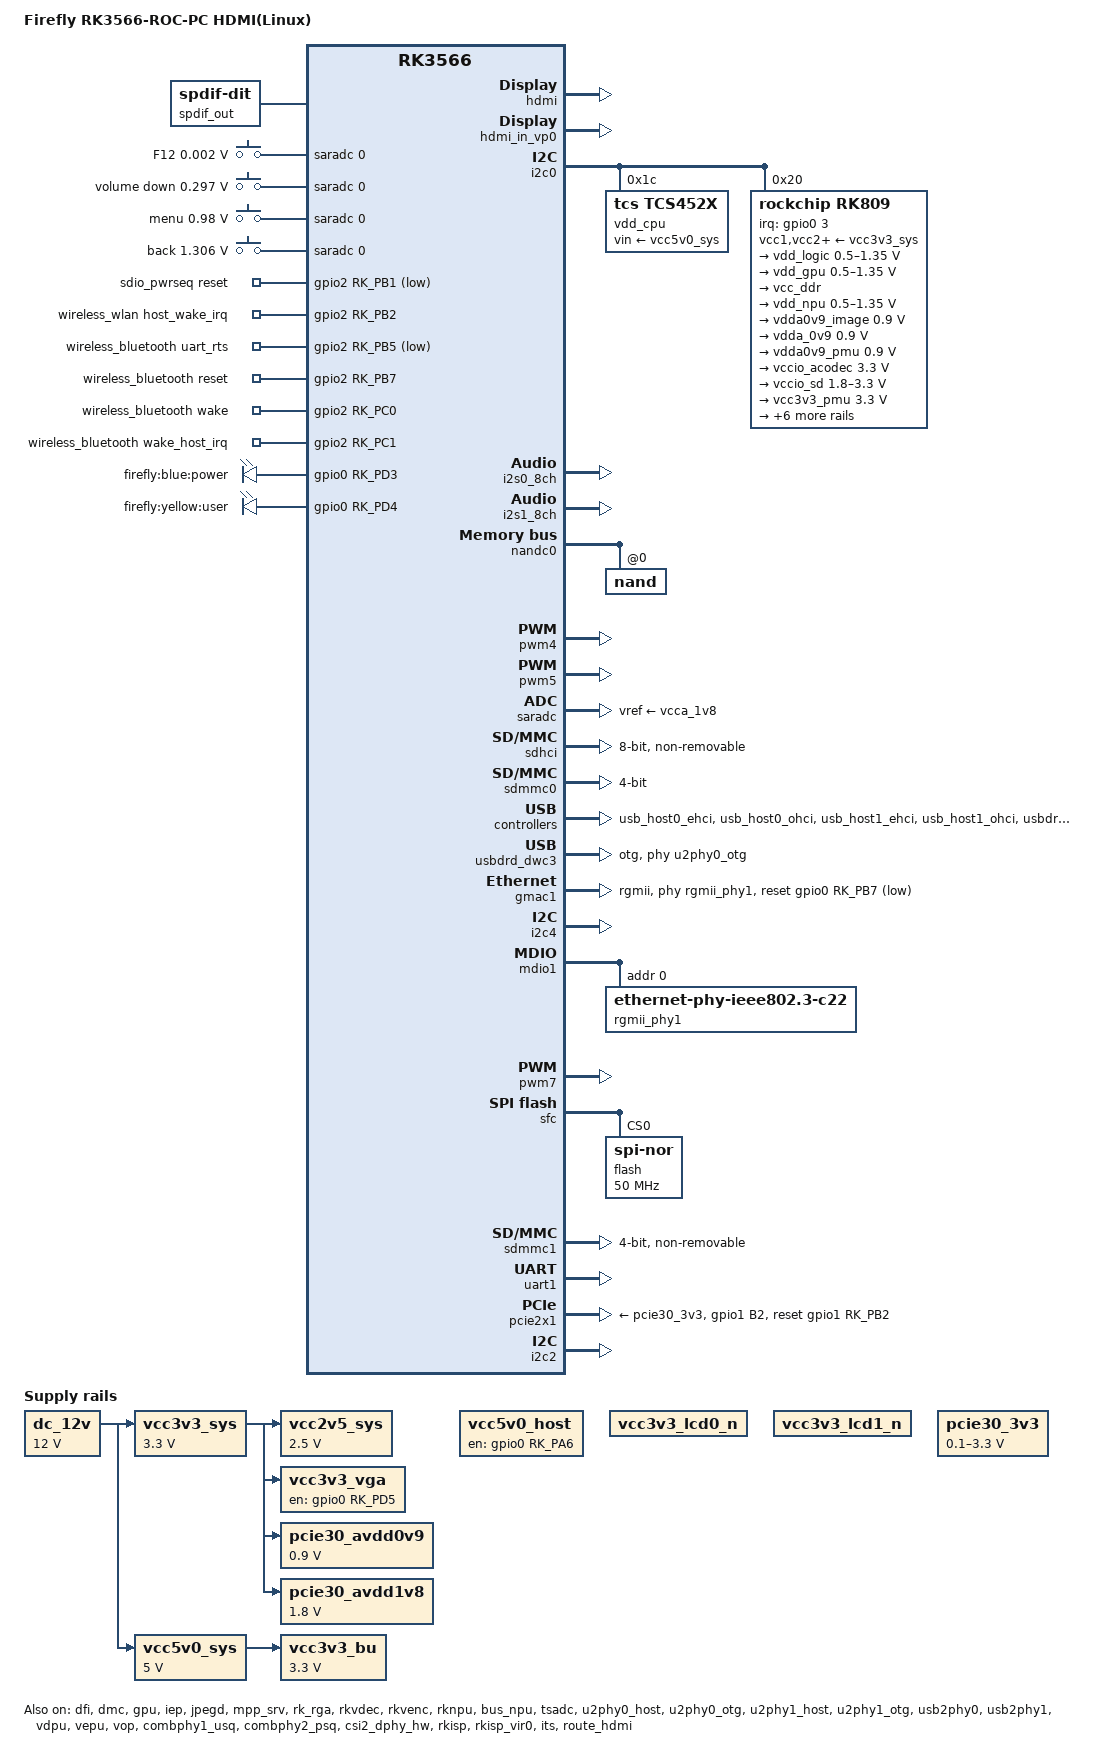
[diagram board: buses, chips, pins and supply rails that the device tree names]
// SPDX-License-Identifier: (GPL-2.0+ OR MIT)
/*
 * Copyright (c) 2020 Rockchip Electronics Co., Ltd.
 *
 */

 /dts-v1/;

#include <dt-bindings/gpio/gpio.h>
#include <dt-bindings/pinctrl/rockchip.h>
#include <dt-bindings/display/rockchip_vop.h>
#include <dt-bindings/gpio/gpio.h>
#include <dt-bindings/pwm/pwm.h>
#include <dt-bindings/pinctrl/rockchip.h>
#include <dt-bindings/input/rk-input.h>
#include <dt-bindings/display/drm_mipi_dsi.h>
#include <dt-bindings/sensor-dev.h>
#include "rk3566.dtsi"
#include "rk3568-linux.dtsi"

/ {
	model = "Firefly RK3566-ROC-PC HDMI(Linux)";
    compatible = "rockchip,rk3566-firefly-roc-pc", "rockchip,rk3566";

	audiopwmout_diff: audiopwmout-diff {
		status = "disabled";
		compatible = "simple-audio-card";
		simple-audio-card,format = "i2s";
		simple-audio-card,name = "rockchip,audiopwmout-diff";
		simple-audio-card,mclk-fs = <256>;
		simple-audio-card,bitclock-master = <&master>;
		simple-audio-card,frame-master = <&master>;
		simple-audio-card,cpu {
			sound-dai = <&i2s3_2ch>;
		};
		master: simple-audio-card,codec {
			sound-dai = <&dig_acodec>;
		};
	};

	dc_12v: dc-12v {
		compatible = "regulator-fixed";
		regulator-name = "dc_12v";
		regulator-always-on;
		regulator-boot-on;
		regulator-min-microvolt = <12000000>;
		regulator-max-microvolt = <12000000>;
	};

	hdmi_sound: hdmi-sound {
		compatible = "simple-audio-card";
		simple-audio-card,format = "i2s";
		simple-audio-card,mclk-fs = <128>;
		simple-audio-card,name = "rockchip,hdmi";
		status = "disabled";

		simple-audio-card,cpu {
				sound-dai = <&i2s0_8ch>;
		};
		simple-audio-card,codec {
				sound-dai = <&hdmi>;
		};
	};

	rk_headset: rk-headset {
		status = "disabled";
		compatible = "rockchip_headset";
		headset_gpio = <&gpio3 RK_PC2 GPIO_ACTIVE_LOW>;
		pinctrl-names = "default";
		pinctrl-0 = <&hp_det>;
	};

	pdmics: dummy-codec {
		status = "disabled";
		compatible = "rockchip,dummy-codec";
		#sound-dai-cells = <0>;
	};

	pdm_mic_array: pdm-mic-array {
		status = "disabled";
		compatible = "simple-audio-card";
		simple-audio-card,name = "rockchip,pdm-mic-array";
		simple-audio-card,cpu {
			sound-dai = <&pdm>;
		};
		simple-audio-card,codec {
			sound-dai = <&pdmics>;
		};
	};

	rk809_sound: rk809-sound {
		status = "okay";
		compatible = "rockchip,multicodecs-card";
		rockchip,card-name = "rockchip-rk809";
		//hp-det-gpio = <&gpio3 RK_PA1 GPIO_ACTIVE_LOW>;
		rockchip,format = "i2s";
		rockchip,mclk-fs = <256>;
		rockchip,cpu = <&i2s1_8ch>;
		rockchip,codec = <&rk809_codec>;
		// pinctrl-names = "default";
		// pinctrl-0 = <&hp_det>;
	};

	spdif-sound {
		status = "okay";
		compatible = "simple-audio-card";
		simple-audio-card,name = "ROCKCHIP,SPDIF";
		simple-audio-card,cpu {
				sound-dai = <&spdif_8ch>;
		};
		simple-audio-card,codec {
				sound-dai = <&spdif_out>;
		};
	};

	spdif_out: spdif-out {
			status = "okay";
			compatible = "linux,spdif-dit";
			#sound-dai-cells = <0>;
	};

	vad_sound: vad-sound {
		status = "disabled";
		compatible = "rockchip,multicodecs-card";
		rockchip,card-name = "rockchip,rk3568-vad";
		rockchip,cpu = <&i2s1_8ch>;
		rockchip,codec = <&rk809_codec>, <&vad>;
	};

	vcc3v3_sys: vcc3v3-sys {
		compatible = "regulator-fixed";
		regulator-name = "vcc3v3_sys";
		regulator-always-on;
		regulator-boot-on;
		regulator-min-microvolt = <3300000>;
		regulator-max-microvolt = <3300000>;
		vin-supply = <&dc_12v>;
	};

	vcc5v0_sys: vcc5v0-sys {
		compatible = "regulator-fixed";
		regulator-name = "vcc5v0_sys";
		regulator-always-on;
		regulator-boot-on;
		regulator-min-microvolt = <5000000>;
		regulator-max-microvolt = <5000000>;
		vin-supply = <&dc_12v>;
	};

	vcc5v0_host: vcc5v0-host-regulator {
		compatible = "regulator-fixed";
		enable-active-high;
		gpio = <&gpio0 RK_PA6 GPIO_ACTIVE_HIGH>;
		pinctrl-names = "default";
		pinctrl-0 = <&vcc5v0_host_vbus_en>;
		regulator-name = "vcc5v0_host";
		regulator-always-on;
		regulator-boot-on;
	};

	vcc5v0_otg: vcc5v0-otg-regulator {
		compatible = "regulator-fixed";
		enable-active-high;
		gpio = <&gpio0 RK_PA5 GPIO_ACTIVE_HIGH>;
		pinctrl-names = "default";
		pinctrl-0 = <&vcc5v0_otg_en>;
		regulator-name = "vcc5v0_otg";
	};

	vcc3v3_lcd0_n: vcc3v3-lcd0-n {
		compatible = "regulator-fixed";
		regulator-name = "vcc3v3_lcd0_n";
		regulator-boot-on;
		regulator-state-mem {
			regulator-off-in-suspend;
		};
	};

	vcc3v3_lcd1_n: vcc3v3-lcd1-n {
		compatible = "regulator-fixed";
		regulator-name = "vcc3v3_lcd1_n";
		regulator-boot-on;
		regulator-state-mem {
			regulator-off-in-suspend;
		};
	};

	adc_keys: adc-keys {
		compatible = "adc-keys";
		io-channels = <&saradc 0>;
		io-channel-names = "buttons";
		keyup-threshold-microvolt = <1800000>;
		poll-interval = <100>;

		recovery-key {
			label = "F12";
			linux,code = <KEY_F12>;
			press-threshold-microvolt = <1750>;
		};

		vol-down-key {
			label = "volume down";
			linux,code = <KEY_VOLUMEDOWN>;
			press-threshold-microvolt = <297500>;
		};

		menu-key {
			label = "menu";
			linux,code = <KEY_MENU>;
			press-threshold-microvolt = <980000>;
		};

		back-key {
			label = "back";
			linux,code = <KEY_BACK>;
			press-threshold-microvolt = <1305500>;
		};
	};

	vcc2v5_sys: vcc2v5-ddr {
		compatible = "regulator-fixed";
		regulator-name = "vcc2v5-sys";
		regulator-always-on;
		regulator-boot-on;
		regulator-min-microvolt = <2500000>;
		regulator-max-microvolt = <2500000>;
		vin-supply = <&vcc3v3_sys>;
	};

	vcc3v3_vga: vcc3v3-vga {
		compatible = "regulator-fixed";
		regulator-name = "vcc3v3_vga";
		regulator-always-on;
		regulator-boot-on;
		gpio = <&gpio0 RK_PD5 GPIO_ACTIVE_HIGH>;
		enable-active-high;
		vin-supply = <&vcc3v3_sys>;
	};

	pcie30_avdd0v9: pcie30-avdd0v9 {
		compatible = "regulator-fixed";
		regulator-name = "pcie30_avdd0v9";
		regulator-always-on;
		regulator-boot-on;
		regulator-min-microvolt = <900000>;
		regulator-max-microvolt = <900000>;
		vin-supply = <&vcc3v3_sys>;
	};

	pcie30_avdd1v8: pcie30-avdd1v8 {
		compatible = "regulator-fixed";
		regulator-name = "pcie30_avdd1v8";
		regulator-always-on;
		regulator-boot-on;
		regulator-min-microvolt = <1800000>;
		regulator-max-microvolt = <1800000>;
		vin-supply = <&vcc3v3_sys>;
	};

	pcie30_3v3: gpio-regulator {
		compatible = "regulator-gpio";
		regulator-name = "pcie30_3v3";
		regulator-min-microvolt = <100000>;
		regulator-max-microvolt = <3300000>;
		gpios = <&gpio0 RK_PD4 GPIO_ACTIVE_HIGH>;
		gpios-states = <0x1>;
		states = <100000 0x0
			  3300000 0x1>;
	};

	vcc3v3_bu: vcc3v3-bu {
		compatible = "regulator-fixed";
		regulator-name = "vcc3v3_bu";
		regulator-always-on;
		regulator-boot-on;
		regulator-min-microvolt = <3300000>;
		regulator-max-microvolt = <3300000>;
		vin-supply = <&vcc5v0_sys>;
	};

	sdio_pwrseq: sdio-pwrseq {
		compatible = "mmc-pwrseq-simple";
		clocks = <&rk809 1>;
		clock-names = "ext_clock";
		pinctrl-names = "default";
		pinctrl-0 = <&wifi_enable_h>;
		/*
			* On the module itself this is one of these (depending
			* on the actual card populated):
			* - SDIO_RESET_L_WL_REG_ON
			* - PDN (power down when low)
		*/
		post-power-on-delay-ms = <200>;
		reset-gpios = <&gpio2 RK_PB1 GPIO_ACTIVE_LOW>;
		status = "okay";
	};

	wireless_wlan: wireless-wlan {
		compatible = "wlan-platdata";
		rockchip,grf = <&grf>;
		wifi_chip_type = "ap6356s";
		pinctrl-names = "default";
		pinctrl-0 = <&wifi_host_wake_irq>;
		WIFI,host_wake_irq = <&gpio2 RK_PB2 0>;
		status = "okay";
	};

	wireless_bluetooth: wireless-bluetooth {
		compatible = "bluetooth-platdata";
		clocks = <&rk809 1>;
		clock-names = "ext_clock";
		//wifi-bt-power-toggle;
		
		uart_rts_gpios = <&gpio2 RK_PB5 GPIO_ACTIVE_LOW>;
		
		pinctrl-names = "default", "rts_gpio";
		pinctrl-0 = <&uart1m0_rtsn
        &bt_host_wake_gpio
        &bt_poweren
        &bt_host_wake_irq>;
		pinctrl-1 = <&uart1_rts_gpio>;
		BT,reset_gpio    = <&gpio2 RK_PB7 GPIO_ACTIVE_HIGH>;
		BT,wake_gpio     = <&gpio2 RK_PC0 GPIO_ACTIVE_HIGH>;
		BT,wake_host_irq = <&gpio2 RK_PC1 GPIO_ACTIVE_HIGH>;
		status = "okay";
	};

	flash_led: flash-led {
		compatible = "led,rgb13h";
		label = "pwm-flash-led";
		led-max-microamp = <20000>;
		flash-max-microamp = <20000>;
		flash-max-timeout-us = <1000000>;
		pwms = <&pwm11 0 25000 0>;
		rockchip,camera-module-index = <1>;
		rockchip,camera-module-facing = "front";
		status = "disabled";
	};

	vcc_camera: vcc-camera-regulator {
		compatible = "regulator-fixed";
		//gpio = <&pca9555 0 GPIO_ACTIVE_HIGH>;
		gpio = <&pca9555 3 GPIO_ACTIVE_HIGH>;
		pinctrl-names = "default";
		pinctrl-0 = <&vcc_cam>;
		regulator-name = "vcc_camera";
		enable-active-high;
		status = "disabled";
	};

	sd_vcc3v3_power: sd-vcc3v3-power {
		status = "disabled";
        compatible = "regulator-fixed";
        enable-active-high;
        gpio = <&gpio0 RK_PA5 GPIO_ACTIVE_HIGH>;
        pinctrl-names = "default";
        pinctrl-0 = <&sd_vcc3v3_power_en>;
        regulator-name = "sd_vcc3v3_power_en";
        regulator-min-microvolt = <3300000>;
        regulator-max-microvolt = <3300000>;
        regulator-always-on;
        regulator-boot-on;
        regulator-state-mem {
            regulator-off-in-suspend;
        };
    };

    firefly_leds: leds {
       compatible = "gpio-leds";
       power_led: power {
           label = "firefly:blue:power";
           linux,default-trigger = "ir-power-click";
           default-state = "on";
           gpios = <&gpio0 RK_PD3 GPIO_ACTIVE_HIGH>;
           pinctrl-names = "default";
           pinctrl-0 = <&led_power>;
       };

       user_led: user {
           label = "firefly:yellow:user";
           linux,default-trigger = "ir-user-click";
           default-state = "off";
           gpios = <&gpio0 RK_PD4 GPIO_ACTIVE_HIGH>;
           pinctrl-names = "default";
           pinctrl-0 = <&led_user>;
       };
    };

	test-power {
		status = "okay";
	};
};

&cpu0 {
	cpu-supply = <&vdd_cpu>;
};

&dfi {
	status = "okay";
};

&dmc {
	center-supply = <&vdd_logic>;
	status = "okay";
};

&gpu {
	mali-supply = <&vdd_gpu>;
	status = "okay";
};

&hdmi {
	status = "okay";
};

&hdmi_in_vp0 {
	status = "okay";
};

&hdmi_in_vp1 {
	status = "disabled";
};

&hdmi_sound {
	status = "okay";
};

&i2c0 {
	status = "okay";

	vdd_cpu: tcs4525@1c {
		compatible = "tcs,tcs452x";
		reg = <0x1c>;
		vin-supply = <&vcc5v0_sys>;
		regulator-compatible = "fan53555-reg";
		regulator-name = "vdd_cpu";
		regulator-min-microvolt = <712500>;
		regulator-max-microvolt = <1390000>;
		regulator-ramp-delay = <2300>;
		fcs,suspend-voltage-selector = <1>;
		regulator-boot-on;
		regulator-always-on;
		regulator-state-mem {
			regulator-off-in-suspend;
		};
	};

	rk809: pmic@20 {
		compatible = "rockchip,rk809";
		reg = <0x20>;
		interrupt-parent = <&gpio0>;
		interrupts = <3 IRQ_TYPE_LEVEL_LOW>;

		pinctrl-names = "default", "pmic-sleep",
				"pmic-power-off", "pmic-reset";
		pinctrl-0 = <&pmic_int>;
		pinctrl-1 = <&soc_slppin_slp>, <&rk817_slppin_slp>;
		pinctrl-2 = <&soc_slppin_gpio>, <&rk817_slppin_pwrdn>;
		pinctrl-3 = <&soc_slppin_gpio>, <&rk817_slppin_rst>;

		rockchip,system-power-controller;
		wakeup-source;
		#clock-cells = <1>;
		clock-output-names = "rk808-clkout1", "rk808-clkout2";
		//fb-inner-reg-idxs = <2>;
		/* 1: rst regs (default in codes), 0: rst the pmic */
		pmic-reset-func = <0>;
		/* not save the PMIC_POWER_EN register in uboot */
		not-save-power-en = <1>;

		vcc1-supply = <&vcc3v3_sys>;
		vcc2-supply = <&vcc3v3_sys>;
		vcc3-supply = <&vcc3v3_sys>;
		vcc4-supply = <&vcc3v3_sys>;
		vcc5-supply = <&vcc3v3_sys>;
		vcc6-supply = <&vcc3v3_sys>;
		vcc7-supply = <&vcc3v3_sys>;
		vcc8-supply = <&vcc3v3_sys>;
		vcc9-supply = <&vcc3v3_sys>;

		pwrkey {
			status = "okay";
		};

		pinctrl_rk8xx: pinctrl_rk8xx {
			gpio-controller;
			#gpio-cells = <2>;

			rk817_slppin_null: rk817_slppin_null {
				pins = "gpio_slp";
				function = "pin_fun0";
			};

			rk817_slppin_slp: rk817_slppin_slp {
				pins = "gpio_slp";
				function = "pin_fun1";
			};

			rk817_slppin_pwrdn: rk817_slppin_pwrdn {
				pins = "gpio_slp";
				function = "pin_fun2";
			};

			rk817_slppin_rst: rk817_slppin_rst {
				pins = "gpio_slp";
				function = "pin_fun3";
			};
		};

		regulators {
			vdd_logic: DCDC_REG1 {
				regulator-always-on;
				regulator-boot-on;
				regulator-min-microvolt = <500000>;
				regulator-max-microvolt = <1350000>;
				regulator-init-microvolt = <900000>;
				regulator-ramp-delay = <6001>;
				regulator-initial-mode = <0x2>;
				regulator-name = "vdd_logic";
				regulator-state-mem {
					regulator-off-in-suspend;
				};
			};

			vdd_gpu: DCDC_REG2 {
				regulator-always-on;
				regulator-boot-on;
				regulator-min-microvolt = <500000>;
				regulator-max-microvolt = <1350000>;
				regulator-init-microvolt = <900000>;
				regulator-ramp-delay = <6001>;
				regulator-initial-mode = <0x2>;
				regulator-name = "vdd_gpu";
				regulator-state-mem {
					regulator-off-in-suspend;
				};
			};

			vcc_ddr: DCDC_REG3 {
				regulator-always-on;
				regulator-boot-on;
				regulator-initial-mode = <0x2>;
				regulator-name = "vcc_ddr";
				regulator-state-mem {
					regulator-on-in-suspend;
				};
			};

			vdd_npu: DCDC_REG4 {
				regulator-always-on;
				regulator-boot-on;
				regulator-min-microvolt = <500000>;
				regulator-max-microvolt = <1350000>;
				regulator-init-microvolt = <900000>;
				regulator-ramp-delay = <6001>;
				regulator-initial-mode = <0x2>;
				regulator-name = "vdd_npu";
				regulator-state-mem {
					regulator-off-in-suspend;
				};
			};

			vdda0v9_image: LDO_REG1 {
				regulator-boot-on;
				regulator-always-on;
				regulator-min-microvolt = <900000>;
				regulator-max-microvolt = <900000>;
				regulator-name = "vdda0v9_image";
				regulator-state-mem {
					regulator-off-in-suspend;
				};
			};

			vdda_0v9: LDO_REG2 {
				regulator-always-on;
				regulator-boot-on;
				regulator-min-microvolt = <900000>;
				regulator-max-microvolt = <900000>;
				regulator-name = "vdda_0v9";
				regulator-state-mem {
					regulator-off-in-suspend;
				};
			};

			vdda0v9_pmu: LDO_REG3 {
				regulator-always-on;
				regulator-boot-on;
				regulator-min-microvolt = <900000>;
				regulator-max-microvolt = <900000>;
				regulator-name = "vdda0v9_pmu";
				regulator-state-mem {
					regulator-on-in-suspend;
					regulator-suspend-microvolt = <900000>;
				};
			};

			vccio_acodec: LDO_REG4 {
				regulator-always-on;
				regulator-boot-on;
				regulator-min-microvolt = <3300000>;
				regulator-max-microvolt = <3300000>;
				regulator-name = "vccio_acodec";
				regulator-state-mem {
					regulator-off-in-suspend;
				};
			};

			vccio_sd: LDO_REG5 {
				regulator-always-on;
				regulator-boot-on;
				regulator-min-microvolt = <1800000>;
				regulator-max-microvolt = <3300000>;
				regulator-name = "vccio_sd";
				regulator-state-mem {
					regulator-off-in-suspend;
				};
			};

			vcc3v3_pmu: LDO_REG6 {
				regulator-always-on;
				regulator-boot-on;
				regulator-min-microvolt = <3300000>;
				regulator-max-microvolt = <3300000>;
				regulator-name = "vcc3v3_pmu";
				regulator-state-mem {
					regulator-on-in-suspend;
					regulator-suspend-microvolt = <3300000>;
				};
			};

			vcca_1v8: LDO_REG7 {
				regulator-always-on;
				regulator-boot-on;
				regulator-min-microvolt = <1800000>;
				regulator-max-microvolt = <1800000>;
				regulator-name = "vcca_1v8";
				regulator-state-mem {
					regulator-off-in-suspend;
				};
			};

			vcca1v8_pmu: LDO_REG8 {
				regulator-always-on;
				regulator-boot-on;
				regulator-min-microvolt = <1800000>;
				regulator-max-microvolt = <1800000>;
				regulator-name = "vcca1v8_pmu";
				regulator-state-mem {
					regulator-on-in-suspend;
					regulator-suspend-microvolt = <1800000>;
				};
			};

			vcca1v8_image: LDO_REG9 {
				regulator-always-on;
				regulator-boot-on;
				regulator-min-microvolt = <1800000>;
				regulator-max-microvolt = <1800000>;
				regulator-name = "vcca1v8_image";
				regulator-state-mem {
					regulator-off-in-suspend;
				};
			};

			vcc_1v8: DCDC_REG5 {
				regulator-always-on;
				regulator-boot-on;
				regulator-min-microvolt = <1800000>;
				regulator-max-microvolt = <1800000>;
				regulator-name = "vcc_1v8";
				regulator-state-mem {
					regulator-off-in-suspend;
				};
			};

			vcc_3v3: SWITCH_REG1 {
				regulator-always-on;
				regulator-boot-on;
				regulator-name = "vcc_3v3";
				regulator-state-mem {
					regulator-off-in-suspend;
				};
			};

			vcc3v3_sd: SWITCH_REG2 {
				regulator-always-on;
				regulator-boot-on;
				regulator-name = "vcc3v3_sd";
				regulator-state-mem {
					regulator-off-in-suspend;
				};
			};
		};

		rk809_codec: codec {
			#sound-dai-cells = <0>;
			compatible = "rockchip,rk809-codec", "rockchip,rk817-codec";
			clocks = <&cru I2S1_MCLKOUT>;
			clock-names = "mclk";
			assigned-clocks = <&cru I2S1_MCLKOUT>, <&cru I2S1_MCLK_TX_IOE>;
			assigned-clock-rates = <12288000>;
			assigned-clock-parents = <&cru I2S1_MCLKOUT_TX>, <&cru I2S1_MCLKOUT_TX>;
			pinctrl-names = "default","spk_gpio";
			pinctrl-0 = <&i2s1m0_mclk>;
			pinctrl-1 = <&spk_ctl_gpio>;
			hp-volume = <20>;
			spk-volume = <3>;
			mic-in-differential;

			capture-volume = <0>;
			io-channels = <&saradc 4>;
			hp-det-adc-value = <1000>;
			spk-ctl-gpios = <&gpio3 RK_PC5 GPIO_ACTIVE_HIGH>;
			status = "okay";
		};
	};
};

&i2s0_8ch {
	status = "okay";
};

&i2s1_8ch {
	status = "okay";
	rockchip,clk-trcm = <1>;
	pinctrl-names = "default";
	pinctrl-0 = <&i2s1m0_sclktx
		     &i2s1m0_lrcktx
		     &i2s1m0_sdi0
		     &i2s1m0_sdo0>;
};

&iep {
	status = "okay";
};

&iep_mmu {
	status = "okay";
};

&jpegd {
	status = "okay";
};

&jpegd_mmu {
	status = "okay";
};

&mpp_srv {
	status = "okay";
};

&nandc0 {
	#address-cells = <1>;
	#size-cells = <0>;
	status = "okay";

	nand@0 {
		reg = <0>;
		nand-bus-width = <8>;
		nand-ecc-mode = "hw";
		nand-ecc-strength = <16>;
		nand-ecc-step-size = <1024>;
	};
};

&pmu_io_domains {
	status = "okay";
	pmuio1-supply = <&vcc3v3_pmu>;
	pmuio2-supply = <&vcc3v3_pmu>;
	vccio1-supply = <&vccio_acodec>;
	vccio3-supply = <&vccio_sd>;
	vccio4-supply = <&vcc_1v8>;
	vccio5-supply = <&vcc_3v3>;
	vccio6-supply = <&vcc_1v8>;
	vccio7-supply = <&vcc_3v3>;
};

&pwm4 {
	status = "okay";
};

&pwm5 {
	status = "okay";
};

&rk_rga {
	status = "okay";
};

&rkvdec {
	status = "okay";
};

&rkvdec_mmu {
	status = "okay";
};

&rkvenc {
	venc-supply = <&vdd_logic>;
	status = "okay";
};

&rkvenc_mmu {
	status = "okay";
};

&rknpu {
	rknpu-supply = <&vdd_npu>;
	status = "okay";
};

&rknpu_mmu {
	status = "okay";
};

&bus_npu {
	bus-supply = <&vdd_logic>;
	pvtm-supply = <&vdd_cpu>;
	status = "okay";
};

&saradc {
	status = "okay";
	vref-supply = <&vcca_1v8>;
};

&sdhci {
	bus-width = <8>;
	no-sdio;
	no-sd;
	non-removable;
	max-frequency = <200000000>;
	full-pwr-cycle-in-suspend;
	status = "okay";
};

&sdmmc0 {
	max-frequency = <150000000>;
	no-sdio;
	no-mmc;
	bus-width = <4>;
	cap-mmc-highspeed;
	cap-sd-highspeed;
	disable-wp;
	sd-uhs-sdr104;
	//vmmc-supply = <&vcc3v3_sd>;
	vqmmc-supply = <&vccio_sd>;
	pinctrl-names = "default";
	pinctrl-0 = <&sdmmc0_bus4 &sdmmc0_clk &sdmmc0_cmd &sdmmc0_det>;
	status = "okay";
};

&spdif_8ch {
	status = "okay";
};

&tsadc {
	status = "okay";
};

&u2phy0_host {
	phy-supply = <&vcc5v0_host>;
	status = "okay";
};

&u2phy0_otg {
	status = "okay";
};

&u2phy1_host {
	phy-supply = <&vcc5v0_host>;
	status = "okay";
};

&u2phy1_otg {
	phy-supply = <&vcc5v0_host>;
	status = "okay";
};

&usb2phy0 {
	status = "okay";
};

&usb2phy1 {
	status = "okay";
};

&usb_host0_ehci {
	status = "okay";
};

&usb_host0_ohci {
	status = "okay";
};

&usb_host1_ehci {
	status = "okay";
};

&usb_host1_ohci {
	status = "okay";
};

&usbdrd_dwc3 {
	dr_mode = "otg";
	extcon = <&usb2phy0>;
	status = "okay";
};

&usbdrd30 {
	status = "okay";
};

&usbhost_dwc3 {
	status = "okay";
};

&usbhost30 {
	status = "okay";
};

&vad {
	rockchip,audio-src = <&i2s1_8ch>;
	rockchip,buffer-time-ms = <128>;
	rockchip,det-channel = <0>;
	rockchip,mode = <0>;
};

&vdpu {
	status = "okay";
};

&vdpu_mmu {
	status = "okay";
};

&vepu {
	status = "okay";
};

&vepu_mmu {
	status = "okay";
};

&vop {
	status = "okay";
	assigned-clocks = <&cru DCLK_VOP0>, <&cru DCLK_VOP1>;
	assigned-clock-parents = <&pmucru PLL_HPLL>, <&cru PLL_VPLL>;
};

&vop_mmu {
	status = "okay";
};

&pinctrl {

	pmic {
		pmic_int: pmic_int {
			rockchip,pins =
				<0 RK_PA3 RK_FUNC_GPIO &pcfg_pull_up>;
		};

		soc_slppin_gpio: soc_slppin_gpio {
			rockchip,pins =
				<0 RK_PA2 RK_FUNC_GPIO &pcfg_output_low_pull_down>;
		};

		soc_slppin_slp: soc_slppin_slp {
			rockchip,pins =
				<0 RK_PA2 1 &pcfg_pull_up>;
		};

		soc_slppin_rst: soc_slppin_rst {
			rockchip,pins =
				<0 RK_PA2 2 &pcfg_pull_none>;
		};

		spk_ctl_gpio: spk_ctl_gpio {
			rockchip,pins = <0 RK_PA6 RK_FUNC_GPIO &pcfg_pull_up>;
		};
	};

	cam {
		vcc_cam: vcc-cam {
			rockchip,pins =
				/* camera power en */
				<0 RK_PC1 RK_FUNC_GPIO &pcfg_pull_none>;
		};
	};
	headphone {
		hp_det: hp-det {
			rockchip,pins = <3 RK_PC2 RK_FUNC_GPIO &pcfg_pull_down>;
		};
	};

	sdio-pwrseq {
		wifi_enable_h: wifi-enable-h {
			rockchip,pins = <2 RK_PB1 RK_FUNC_GPIO &pcfg_pull_none>;
		};
	};

	touch {
		touch_gpio: touch-gpio {
			rockchip,pins =
				<0 RK_PB5 RK_FUNC_GPIO &pcfg_pull_up>,
				<0 RK_PB6 RK_FUNC_GPIO &pcfg_pull_none>;
		};
	};

	mxc6655xa {
		mxc6655xa_irq_gpio: mxc6655xa_irq_gpio {
			rockchip,pins = <3 RK_PC1 RK_FUNC_GPIO &pcfg_pull_none>;
		};
	};

	usb {
		vcc5v0_otg_en: vcc5v0-otg-en {
			rockchip,pins = <0 RK_PA5 RK_FUNC_GPIO &pcfg_pull_none>;
		};

		vcc5v0_host_vbus_en: vcc5v0-host-en {
			rockchip,pins = <0 RK_PA6 RK_FUNC_GPIO &pcfg_pull_none>;
		};
	};

	sd {
		sd_vcc3v3_power_en: sd-vcc3v3-power-en {
			rockchip,pins = <0 RK_PA5 RK_FUNC_GPIO &pcfg_pull_none>;
		};
	};

    wireless-wlan {
        wifi_host_wake_irq: wifi-host-wake-irq {
            rockchip,pins = <2 RK_PB2 RK_FUNC_GPIO &pcfg_pull_down>;
        };
    };

    wireless-bluetooth {
        uart1_rts_gpio: uart1-rts-gpio {
            rockchip,pins = <2  RK_PB5 RK_FUNC_GPIO &pcfg_pull_none>;
        };

        bt_host_wake_irq: bt-host-wake-irq {
            rockchip,pins = <2 RK_PC1 RK_FUNC_GPIO &pcfg_pull_down>;
        };
        bt_host_wake_gpio: bt-host-wake-gpio {
            rockchip,pins = <2 RK_PC0 RK_FUNC_GPIO &pcfg_pull_down>;
        };
        bt_poweren: bt-poweren {
            rockchip,pins = <2 RK_PB7 RK_FUNC_GPIO &pcfg_pull_down>;
        };
    };

    pcie {
        pcie_reset_gpio: pcie-reset-gpio {
			rockchip,pins = <1 RK_PB2 RK_FUNC_GPIO &pcfg_pull_none>;
		};
    };
    leds {
         led_power: led-power {
             rockchip,pins = <0 RK_PD3 RK_FUNC_GPIO &pcfg_pull_none>;
         };

         led_user: led-user {
             rockchip,pins = <0 RK_PD4 RK_FUNC_GPIO &pcfg_pull_none>;
         };
    };
};

&combphy1_usq {
	status = "okay";
};

&combphy2_psq {
	status = "okay";
};

&csi2_dphy_hw {
	status = "okay";
};

&csi2_dphy0 {
	status = "okay";

	ports {
		#address-cells = <1>;
		#size-cells = <0>;
		port@0 {
			reg = <0>;
			#address-cells = <1>;
			#size-cells = <0>;

			mipi_in_ucam0: endpoint@1 {
				reg = <1>;
				remote-endpoint = <&ucam_out0>;
				data-lanes = <1 2 3 4>;
			};
			mipi_in_ucam1: endpoint@2 {
				reg = <2>;
				remote-endpoint = <&gc8034_out>;
				data-lanes = <1 2 3 4>;
			};
			mipi_in_ucam2: endpoint@3 {
				reg = <3>;
				remote-endpoint = <&ov5695_out>;
				data-lanes = <1 2>;
			};
		};
		port@1 {
			reg = <1>;
			#address-cells = <1>;
			#size-cells = <0>;

			csidphy_out: endpoint@0 {
				reg = <0>;
				remote-endpoint = <&isp0_in>;
			};
		};
	};
};

&gmac1 {
	phy-mode = "rgmii";
	clock_in_out = "input";

	snps,reset-gpio = <&gpio2 RK_PD1 GPIO_ACTIVE_LOW>;
	snps,reset-active-low;
	/* Reset time is 20ms, 100ms for rtl8211f */
	snps,reset-delays-us = <0 20000 100000>;

	assigned-clocks = <&cru SCLK_GMAC1_RX_TX>, <&cru SCLK_GMAC1>;
	assigned-clock-parents = <&cru SCLK_GMAC1_RGMII_SPEED>, <&gmac1_clkin>;

	pinctrl-names = "default";
	pinctrl-0 = <&gmac1m1_miim
		     &gmac1m1_tx_bus2
		     &gmac1m1_rx_bus2
		     &gmac1m1_rgmii_clk
		     &gmac1m1_rgmii_bus
		     &gmac1m1_clkinout>;

	tx_delay = <0x4f>;
	rx_delay = <0x26>;

	phy-handle = <&rgmii_phy1>;
	status = "disabled";
};

/*
 * power-supply should switche to vcc3v3_lcd1_n
 * when mipi panel is connected to dsi1.
 */

&i2c4 {
	status = "okay";
	gc8034: gc8034@37 {
		compatible = "galaxycore,gc8034";
		status = "disabled";
		reg = <0x37>;
		clocks = <&cru CLK_CIF_OUT>;
		clock-names = "xvclk";
		pinctrl-names = "default";
		pinctrl-0 = <&cif_clk>;
		reset-gpios = <&gpio3 RK_PB6 GPIO_ACTIVE_LOW>;
		pwdn-gpios = <&gpio4 RK_PB4 GPIO_ACTIVE_LOW>;
		rockchip,grf = <&grf>;
		rockchip,camera-module-index = <0>;
		rockchip,camera-module-facing = "back";
		rockchip,camera-module-name = "RK-CMK-8M-2-v1";
		rockchip,camera-module-lens-name = "CK8401";
		port {
			gc8034_out: endpoint {
				remote-endpoint = <&mipi_in_ucam1>;
				data-lanes = <1 2 3 4>;
			};
		};
	};
	os04a10: os04a10@36 {
		status = "disabled";
		compatible = "ovti,os04a10";
		reg = <0x36>;
		clocks = <&cru CLK_CIF_OUT>;
		clock-names = "xvclk";
		power-domains = <&power RK3568_PD_VI>;
		pinctrl-names = "default";
		pinctrl-0 = <&cif_clk>;
		reset-gpios = <&gpio3 RK_PB6 GPIO_ACTIVE_LOW>;
		pwdn-gpios = <&gpio4 RK_PB4 GPIO_ACTIVE_HIGH>;
		rockchip,camera-module-index = <0>;
		rockchip,camera-module-facing = "back";
		rockchip,camera-module-name = "CMK-OT1607-FV1";
		rockchip,camera-module-lens-name = "M12-40IRC-4MP-F16";
		port {
			ucam_out0: endpoint {
				remote-endpoint = <&mipi_in_ucam0>;
				data-lanes = <1 2 3 4>;
			};
		};
	};
	ov5695: ov5695@36 {
		status = "disabled";
		compatible = "ovti,ov5695";
		reg = <0x36>;
		clocks = <&cru CLK_CIF_OUT>;
		clock-names = "xvclk";
		power-domains = <&power RK3568_PD_VI>;
		pinctrl-names = "default";
		pinctrl-0 = <&cif_clk>;
		reset-gpios = <&gpio3 RK_PB6 GPIO_ACTIVE_HIGH>;
		pwdn-gpios = <&gpio4 RK_PB4 GPIO_ACTIVE_HIGH>;
		rockchip,camera-module-index = <0>;
		rockchip,camera-module-facing = "back";
		rockchip,camera-module-name = "TongJu";
		rockchip,camera-module-lens-name = "CHT842-MD";
		port {
			ov5695_out: endpoint {
				remote-endpoint = <&mipi_in_ucam2>;
				data-lanes = <1 2>;
			};
		};
	};
};

&i2c1 {
	status = "disabled";
	clock-frequency = <100000>;

	pca9555: gpio@21 {
		status = "disabled";
		compatible = "nxp,pca9555";
		reg = <0x21>;
		gpio-controller;
		#gpio-cells = <2>;
		gpio-group-num = <200>;
	};

	gt1x: gt1x@14 {
		status = "disabled";
		compatible = "goodix,gt1x";
		reg = <0x14>;
		pinctrl-names = "default";
		pinctrl-0 = <&touch_gpio>;
		goodix,rst-gpio = <&gpio0 RK_PB6 GPIO_ACTIVE_HIGH>;
		goodix,irq-gpio = <&gpio0 RK_PB5 IRQ_TYPE_LEVEL_LOW>;
	};
};

&i2c5 {
	status = "disabled";

	mc3230: mc3230sensor@4c {
		compatible = "gs_mc3230";
		reg = <0x4c>;
		type = <SENSOR_TYPE_ACCEL>;
		irq_enable = <0>;
		poll_delay_ms = <30>;
		layout = <4>;
		status = "disabled";
	};

	mxc6655xa: mxc6655xa@15 {
		status = "disabled";
		compatible = "gs_mxc6655xa";
		pinctrl-names = "default";
		pinctrl-0 = <&mxc6655xa_irq_gpio>;
		reg = <0x15>;
		irq-gpio = <&gpio3 RK_PC1 IRQ_TYPE_LEVEL_LOW>;
		irq_enable = <0>;
		poll_delay_ms = <30>;
		type = <SENSOR_TYPE_ACCEL>;
		power-off-in-suspend = <1>;
		layout = <1>;
	};
};

&mdio1 {
	rgmii_phy1: phy@0 {
		compatible = "ethernet-phy-ieee802.3-c22";
		reg = <0x0>;
	};
};

&rk809_codec {
	pinctrl-0 = <&i2s1m0_mclk>;
};

&rkisp {
	status = "okay";
};

&rkisp_mmu {
	status = "okay";
};

&rkisp_vir0 {
	status = "okay";

	port {
		#address-cells = <1>;
		#size-cells = <0>;

		isp0_in: endpoint@0 {
			reg = <0>;
			remote-endpoint = <&csidphy_out>;
		};
	};
};

&sata2 {
	status = "disabled";
};

&sdmmc2 {
	max-frequency = <150000000>;
	no-sd;
	no-mmc;
	bus-width = <4>;
	disable-wp;
	cap-sd-highspeed;
	cap-sdio-irq;
	keep-power-in-suspend;
	pinctrl-names = "default";
	pinctrl-0 = <&sdmmc2m0_bus4 &sdmmc2m0_cmd &sdmmc2m0_clk>;
	sd-uhs-sdr104;
	mmc-pwrseq = <&sdio_pwrseq>;
	non-removable;
	status = "disabled";
};

&spdif_8ch {
	status = "disabled";
	pinctrl-names = "default";
	pinctrl-0 = <&spdifm1_tx>;
};

&uart3 {
	status = "disabled";
	pinctrl-names = "default";
	pinctrl-0 = <&uart3m1_xfer>;
};

&uart4 {
	status = "disabled";
	pinctrl-names = "default";
	pinctrl-0 = <&uart4m1_xfer>;
};

&uart8 {
	status = "okay";
	pinctrl-names = "default";
	pinctrl-0 = <&uart8m0_xfer &uart8m0_ctsn>;
};

&can1 {
	status = "disabled";
	compatible = "rockchip,rk3568-can-2.0";
	assigned-clocks = <&cru CLK_CAN1>;
	assigned-clock-rates = <200000000>;
	pinctrl-names = "default";
	pinctrl-0 = <&can1m1_pins>;
};

&can2 {
	status = "disabled";
	compatible = "rockchip,rk3568-can-2.0";
	assigned-clocks = <&cru CLK_CAN2>;
	assigned-clock-rates = <200000000>;
	pinctrl-names = "default";
	pinctrl-0 = <&can2m0_pins>;
};

&spi1 {
	status = "disabled";
	max-freq = <48000000>;
	dev-port = <0>;
	pinctrl-0 = <&spi1m1_pins>;
	pinctrl-1 = <&spi1m1_pins_hs>;

	spi_wk2xxx: spi_wk2xxx@0{
		status = "disabled";
		compatible = "firefly,spi-wk2xxx";
		reg = <0x00>;
		spi-max-frequency = <10000000>;
		power-gpio = <&pca9555 15 GPIO_ACTIVE_HIGH>;
		reset-gpio = <&pca9555 9 GPIO_ACTIVE_HIGH>;
		irq-gpio = <&gpio0 RK_PA6 IRQ_TYPE_EDGE_FALLING>;
		cs-gpio = <&gpio3 RK_PA1 GPIO_ACTIVE_HIGH>;
		/* rk3399 driver support SPI_CPOL | SPI_CPHA | SPI_CS_HIGH */
		//spi-cpha;     /* SPI mode: CPHA=1 */
		//spi-cpol;     /* SPI mode: CPOL=1 */
		//spi-cs-high;
	};
};

&pwm7 {
	status = "disabled";

	compatible = "rockchip,remotectl-pwm";
	interrupts = <GIC_SPI 83 IRQ_TYPE_LEVEL_HIGH>;
	remote_pwm_id = <3>;
	handle_cpu_id = <1>;
	remote_support_psci = <0>;
	pinctrl-names = "default";
	pinctrl-0 = <&pwm7_pins>;

	ir_key_firefly{
		rockchip,usercode = <0xff00>;
		rockchip,key_table =
			<0xeb   KEY_POWER>,
			<0xec   KEY_MENU>,
			<0xfe   KEY_BACK>,
			<0xb7   KEY_HOME>,
			<0xa3   KEY_WWW>,
			<0xf4   KEY_VOLUMEUP>,
			<0xa7   KEY_VOLUMEDOWN>,
			<0xf8   KEY_REPLY>,
			<0xfc   KEY_UP>,
			<0xfd   KEY_DOWN>,
			<0xf1   KEY_LEFT>,
			<0xe5   KEY_RIGHT>;
	};
};

&sfc{
    pinctrl-names = "default";
    pinctrl-0 = <&fspi_pins>;
    assigned-clock-rates = <50000000>;
    status = "okay";
    flash@0 {
        compatible = "jedec,spi-nor";
        reg = <0>;
        spi-max-frequency = <50000000>;
        spi-rx-bus-width = <1>;
        spi-tx-bus-width = <1>;
    };
};

&lpddr4_params {
	/* freq info, freq_0 is final frequency, unit: MHz */
	freq_0 = <1056>;
};

&lpddr4x_params {
	/* freq info, freq_0 is final frequency, unit: MHz */
	freq_0 = <1056>;
};

&power {
	pd_pipe@RK3568_PD_PIPE {
		reg = <RK3568_PD_PIPE>;
		clocks = <&cru PCLK_PIPE>;
		pm_qos = <&qos_pcie2x1>,
			 <&qos_sata1>,
			 <&qos_sata2>,
			 <&qos_usb3_0>,
			 <&qos_usb3_1>;
	};
};

&rkisp {
	rockchip,iq-feature = /bits/ 64 <0x1BFBF7FE67FF>;
};

&usbdrd_dwc3 {
	phys = <&u2phy0_otg>;
	phy-names = "usb2-phy";
	extcon = <&usb2phy0>;
	maximum-speed = "high-speed";
	snps,dis_u2_susphy_quirk;
	snps,usb2-lpm-disable;
};

&vcc5v0_otg {
	status = "disabled";
};

/* WiFi config */
&sdmmc1 {
    max-frequency = <150000000>;
    supports-sdio;
    bus-width = <4>;
    disable-wp;
    cap-sd-highspeed;
    cap-sdio-irq;
    keep-power-in-suspend;
    mmc-pwrseq = <&sdio_pwrseq>;
    non-removable;
    pinctrl-names = "default";
    pinctrl-0 = <&sdmmc1_bus4 &sdmmc1_cmd &sdmmc1_clk>;
    sd-uhs-sdr104;
    rockchip,default-sample-phase = <90>;
    status = "okay";
};

// iomux with GPIO2_B2(WIFI,host_wake_irq)
&uart8 {
    status = "disabled";
};

/* BT config */
&uart1 {
    pinctrl-names = "default";
    pinctrl-0 = <&uart1m0_xfer &uart1m0_ctsn>;
    status = "okay";
};

&rk809_codec {
    io-channels = <&saradc 3>;
    hp-det-adc-value = <941>;
    hp_adc_drift_scope = <20>;
    board-spk-from-hp;
};

&pcie2x1 {
    reset-gpios = <&gpio1 RK_PB2 GPIO_ACTIVE_HIGH>;
    pinctrl-names = "default";
    pinctrl-0 = <&pcie_reset_gpio>;
	vpcie3v3-supply = <&pcie30_3v3>;
    status = "okay";
};

&pcie30_3v3 {
	status = "okay";
	gpios = <&gpio0 RK_PC4 GPIO_ACTIVE_HIGH>;
};

&its {
    status = "okay";
};

&pwm7 {
    status = "okay";
};

&gmac1 {
    phy-mode = "rgmii";
    clock_in_out = "input";

    snps,reset-gpio = <&gpio0 RK_PB7 GPIO_ACTIVE_LOW>;
    snps,reset-active-low;
    /* Reset time is 20ms, 100ms for rtl8211f */
    snps,reset-delays-us = <0 20000 100000>;

    assigned-clocks = <&cru SCLK_GMAC1_RX_TX>, <&cru SCLK_GMAC1>;
    assigned-clock-parents = <&cru SCLK_GMAC1_RGMII_SPEED>, <&gmac1_clkin>;

    pinctrl-names = "default";
    pinctrl-0 = <&gmac1m0_miim
             &gmac1m0_tx_bus2
             &gmac1m0_rx_bus2
             &gmac1m0_rgmii_clk
             &gmac1m0_rgmii_bus
             &gmac1m0_clkinout>;

    tx_delay = <0x4e>;
    rx_delay = <0x2c>;

    phy-handle = <&rgmii_phy1>;
    status = "okay";
};

&rgmii_phy1 {
	led_status_value = <0x2f60>;
};

&i2c2 {
    status = "okay";
};

&csi2_dphy0{
    status="disabled";
};

&csi2_dphy2{
    status = "disabled";
};

&csi2_dphy1 {
    status = "disabled";
   /*
    * dphy1 only used for split mode,
    * can be used  concurrently  with dphy2
    * full mode and split mode are mutually exclusive
    */
};

&rk809 {
    rtc {
        status = "disabled";
    };
};

&route_hdmi {
	status = "okay";
	connect = <&vp0_out_hdmi>;
};
